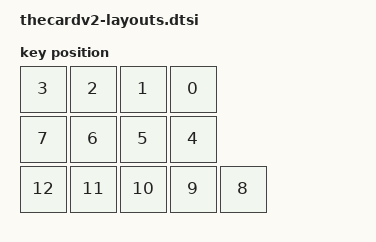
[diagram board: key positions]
#include <physical_layouts.dtsi>

/ {
    thecardv2_layout: physical_layout_0 {
        compatible = "zmk,physical-layout";
        display-name = "TheCardV2 Layout";
        transform = <&thecardv2_transform>;
        keys = <
            &key_physical_attrs 100 100 300 0 0 0 0
            &key_physical_attrs 100 100 200 0 0 0 0
            &key_physical_attrs 100 100 100 0 0 0 0
            &key_physical_attrs 100 100 0 0 0 0 0
            &key_physical_attrs 100 100 300 100 0 0 0
            &key_physical_attrs 100 100 200 100 0 0 0
            &key_physical_attrs 100 100 100 100 0 0 0
            &key_physical_attrs 100 100 0 100 0 0 0
            &key_physical_attrs 100 100 400 200 0 0 0
            &key_physical_attrs 100 100 300 200 0 0 0
            &key_physical_attrs 100 100 200 200 0 0 0
            &key_physical_attrs 100 100 100 200 0 0 0
            &key_physical_attrs 100 100 0 200 0 0 0
        >;
    };
};
